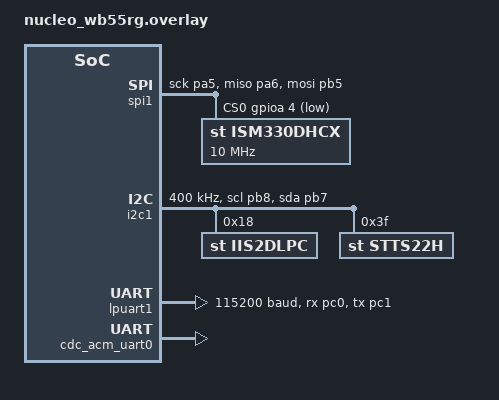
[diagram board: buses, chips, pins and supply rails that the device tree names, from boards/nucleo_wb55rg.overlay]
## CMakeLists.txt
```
cmake_minimum_required(VERSION 3.20.0)
find_package(Zephyr REQUIRED HINTS $ENV{ZEPHYR_BASE})

project(sovereign-sensor)

target_sources(app PRIVATE
    src/main.c
    src/sensors/ism330dhcx.c
    src/sensors/impact_detect.c
    src/sensors/environment.c
    src/capture/ring_buffer.c
    src/capture/swing_detect.c
    src/capture/session.c
    src/transport/usb_serial.c
    src/transport/protocol.c
    src/transport/ble_service.c
    # src/storage/flash_store.c  # Enable when QSPI flash is configured
)

target_include_directories(app PRIVATE include)
```

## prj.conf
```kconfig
# Sovereign Sensor — Phase 1 Configuration
# Target: STEVAL-PROTEUS1 (STM32WB55)

# Kernel
CONFIG_MAIN_STACK_SIZE=2048
CONFIG_SYSTEM_WORKQUEUE_STACK_SIZE=2048

# Sensor subsystem
CONFIG_SENSOR=y
CONFIG_ISM330DHCX=y
CONFIG_ISM330DHCX_TRIGGER_NONE=y
# IIS3DWB: no Zephyr driver — using raw SPI in impact_detect.c
CONFIG_IIS2DLPC=y
CONFIG_IIS2DLPC_TRIGGER_NONE=y
CONFIG_STTS22H=y

# SPI + I2C (sensors on both buses)
CONFIG_SPI=y
CONFIG_I2C=y
CONFIG_GPIO=y

# USB CDC ACM (serial over USB)
CONFIG_USB_DEVICE_STACK=y
CONFIG_USB_CDC_ACM=y
CONFIG_SERIAL=y
CONFIG_UART_LINE_CTRL=y
CONFIG_USB_DEVICE_PRODUCT="Sovereign Sensor"
CONFIG_USB_DEVICE_MANUFACTURER="IntelAction"
CONFIG_USB_DEVICE_VID=0x0483
CONFIG_USB_DEVICE_PID=0x5740

# Console via UART (visible on STLINK VCP if wired)
CONFIG_CONSOLE=y
CONFIG_UART_CONSOLE=y

# Logging
CONFIG_LOG=y
CONFIG_LOG_MODE_DEFERRED=y
CONFIG_LOG_BUFFER_SIZE=2048

# Floating point
CONFIG_FPU=y

# Use newlib (avoids picolibc lock type conflict with SDK 0.17.4)
CONFIG_NEWLIB_LIBC=y

# Thread awareness
CONFIG_THREAD_NAME=y
CONFIG_THREAD_MONITOR=y

# Power management DISABLED for Phase 1 (PM disables SWD debug port)
CONFIG_PM=n

# Keep SWD debug active
CONFIG_DEBUG=y

# External flash (MX25R6435F on QuadSPI) — disabled until custom pinctrl
# CONFIG_FLASH=y
# CONFIG_FLASH_MAP=y
# CONFIG_FLASH_PAGE_LAYOUT=y

# Bluetooth LE
CONFIG_BT=y
CONFIG_BT_PERIPHERAL=y
CONFIG_BT_DEVICE_NAME="SovereignSensor"
CONFIG_BT_DEVICE_APPEARANCE=833
CONFIG_BT_MAX_CONN=1
CONFIG_BT_MAX_PAIRED=1
CONFIG_BT_GATT_DYNAMIC_DB=y
```

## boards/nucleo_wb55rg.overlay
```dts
/*
 * Device tree overlay for STEVAL-PROTEUS1 sensor board.
 *
 * Pin mapping from official STM32CubeMX IOC (STM32_open_pin_data):
 *
 * ISM330DHCX on SPI1: SCK=PA5, MISO=PA6, MOSI=PB5, CS=PA4
 * IIS3DWB on SPI1: CS=PA15 (not used Phase 1)
 * IIS2DLPC on I2C1: SCL=PB8, SDA=PB7
 * STTS22H on I2C1
 * STSAFE on I2C1
 *
 * Power: STBC02_CEN=PD12 (OD, HIGH), ST1PS02 D0=PC9,D1=PC10,D2=PC11
 *        ST1PS02_AUX=PD13 (HIGH), STBC02_WAKE-UP=PH0
 *
 * Using nucleo_wb55rg as base board (same STM32WB55 SoC).
 */

&spi1 {
	pinctrl-0 = <&spi1_sck_pa5 &spi1_miso_pa6 &spi1_mosi_pb5>;
	pinctrl-names = "default";
	status = "okay";
	cs-gpios = <&gpioa 4 GPIO_ACTIVE_LOW>,
	           <&gpioa 15 GPIO_ACTIVE_LOW>;

	ism330dhcx@0 {
		compatible = "st,ism330dhcx";
		reg = <0>;
		spi-max-frequency = <10000000>;
	};

	/*
	 * IIS3DWB (CS1/PA15): 26.7kHz vibration sensor.
	 * No Zephyr driver — accessed via raw SPI in impact_detect.c
	 * using the second cs-gpios entry above.
	 */
};

&i2c1 {
	pinctrl-0 = <&i2c1_scl_pb8 &i2c1_sda_pb7>;
	pinctrl-names = "default";
	status = "okay";
	clock-frequency = <I2C_BITRATE_FAST>;

	/* IIS2DLPC: ultra-low-power accel for wake-on-motion */
	iis2dlpc: iis2dlpc@18 {
		compatible = "st,iis2dlpc";
		reg = <0x18>;
	};

	/* STTS22H: temperature sensor for drift compensation */
	stts22h: stts22h@3f {
		compatible = "st,stts22h";
		reg = <0x3f>;
		sampling-rate = <0x04>;  /* STTS22H_1Hz — continuous 1Hz */
	};
};

/* Console on lpuart1 */
/ {
	chosen {
		zephyr,console = &lpuart1;
		zephyr,shell-uart = &lpuart1;
	};
};

&lpuart1 {
	pinctrl-0 = <&lpuart1_rx_pc0 &lpuart1_tx_pc1>;
	pinctrl-names = "default";
	status = "okay";
	current-speed = <115200>;
};

/*
 * QuadSPI NOR flash: MX25R6435F 64Mbit (8MB)
 * QSPI: CLK=PA3, IO0=PB9, IO1=PD5, IO2=PD6, IO3=PD7, NCS=PB11
 * TODO: Enable when custom pinctrl with PD5-7 QSPI pins is added.
 *       The nucleo_wb55rg pinctrl lacks PD5-7 QSPI definitions.
 *       Need stm32wb5mmghx-pinctrl.dtsi for these pins.
 */

&zephyr_udc0 {
	cdc_acm_uart0: cdc_acm_uart0 {
		compatible = "zephyr,cdc-acm-uart";
	};
};
```

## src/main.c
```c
/*
 * Sovereign Sensor — Phase 1 Main Application
 *
 * Three-thread architecture:
 *   1. Sensor thread (P5): reads IMU at configured rate, pushes to ring buffer
 *   2. Capture thread (P3): state machine — IDLE → ARMED → CAPTURING → TRANSFER
 *   3. Transport thread (P7): drains ring buffer over USB CDC as CSV
 *
 * Phase 1: threshold-based swing detection, USB CSV output.
 */

#include <zephyr/kernel.h>
#include <zephyr/drivers/gpio.h>
#include <zephyr/logging/log.h>
#include "sensor_config.h"
#include "capture.h"
#include "transport.h"
#include "protocol.h"
#include <stdio.h>
#include <string.h>

LOG_MODULE_REGISTER(main, LOG_LEVEL_INF);

/* Thread stacks */
#define SENSOR_STACK_SIZE   2048
#define CAPTURE_STACK_SIZE  2048
#define TRANSPORT_STACK_SIZE 2048

K_THREAD_STACK_DEFINE(sensor_stack, SENSOR_STACK_SIZE);
K_THREAD_STACK_DEFINE(capture_stack, CAPTURE_STACK_SIZE);
K_THREAD_STACK_DEFINE(transport_stack, TRANSPORT_STACK_SIZE);

static struct k_thread sensor_thread_data;
static struct k_thread capture_thread_data;
static struct k_thread transport_thread_data;

/* Shared state */
static volatile enum capture_state current_state = CAPTURE_STATE_IDLE;
static volatile bool transfer_requested = false;
static struct sensor_runtime_config runtime_config = {
    .sample_rate_hz = DEFAULT_SAMPLE_RATE_HZ,
    .wake_threshold_mg = DEFAULT_WAKE_THRESHOLD_MG,
    .capture_mode = 1,  /* threshold */
    .capture_duration_s = DEFAULT_CAPTURE_DURATION_S,
    .preroll_s = DEFAULT_PREROLL_S,
};

/* Forward declarations — ISM330DHCX */
int imu_init(void);
int imu_set_rate(uint16_t rate_hz);
int imu_read_sample(struct imu_sample *sample);
bool imu_is_ready(void);

/* Forward declarations — IIS3DWB impact + environment */
int impact_detect_init(void);
bool impact_is_ready(void);
void impact_arm(void);
void impact_disarm(void);
int impact_capture_sample(void);
bool impact_has_data(void);
uint16_t impact_get_count(void);
uint32_t impact_analyze_peak(void);
int impact_get_sample(uint16_t index, int16_t *x, int16_t *y, int16_t *z);

int environment_init(void);
float environment_read_temperature(void);
bool environment_temp_ready(void);
bool environment_wake_ready(void);

/* ---------- Sensor Thread (Priority 5) ---------- */

static void sensor_thread_fn(void *p1, void *p2, void *p3)
{
    ARG_UNUSED(p1); ARG_UNUSED(p2); ARG_UNUSED(p3);

    struct imu_sample sample;
    uint32_t period_us = 1000000 / runtime_config.sample_rate_hz;

    LOG_INF("Sensor thread started (%u Hz, %u us period)",
            runtime_config.sample_rate_hz, period_us);

    while (1) {
        int64_t start = k_uptime_ticks();

        if (current_state == CAPTURE_STATE_ARMED ||
            current_state == CAPTURE_STATE_CAPTURING ||
            current_state == CAPTURE_STATE_STREAMING) {

            int ret = imu_read_sample(&sample);
            if (ret == 0) {
                ring_buffer_push(&sample);
            }
        }

        /* Precise timing: sleep for remainder of period */
        int64_t elapsed_us = k_ticks_to_us_floor64(k_uptime_ticks() - start);
        if (elapsed_us < period_us) {
            k_usleep(period_us - (uint32_t)elapsed_us);
        }
    }
}

/* ---------- Capture Thread (Priority 3) ---------- */

static void capture_thread_fn(void *p1, void *p2, void *p3)
{
    ARG_UNUSED(p1); ARG_UNUSED(p2); ARG_UNUSED(p3);

    LOG_INF("Capture thread started (mode=threshold, threshold=%u mg)",
            runtime_config.wake_threshold_mg);

    swing_detect_set_threshold(runtime_config.wake_threshold_mg);
    swing_detect_set_cooldown(DEFAULT_COOLDOWN_S * 1000);

    while (1) {
        switch (current_state) {
        case CAPTURE_STATE_IDLE:
            /* Transition to ARMED — ready to detect swing */
            current_state = CAPTURE_STATE_ARMED;
            ring_buffer_clear();
            swing_detect_reset();
            LOG_INF("State: IDLE → ARMED");
            break;

        case CAPTURE_STATE_ARMED: {
            /* Check latest sample for swing start */
            struct imu_sample sample;
            int count = ring_buffer_count();
            if (count > 0 &&
                ring_buffer_peek(&sample, count - 1) == 0) {
                enum swing_event evt = swing_detect_check(&sample);
                if (evt == SWING_EVENT_START) {
                    session_start();
                    /* Don't arm IIS3DWB yet — wait for downswing detection */
                    current_state = CAPTURE_STATE_CAPTURING;
                    LOG_INF("State: ARMED → CAPTURING (session %04u)",
                            session_get_id());
                }
            }
            k_msleep(2);  /* Check at 500Hz */
            break;
        }

        case CAPTURE_STATE_CAPTURING: {
            /* Count samples and check for swing events */
            struct imu_sample sample;
            int count = ring_buffer_count();
            if (count > 0 &&
                ring_buffer_peek(&sample, count - 1) == 0) {
                session_add_sample();

                /* Capture impact vibration (no-op if not yet armed) */
                if (impact_is_ready()) {
                    impact_capture_sample();
                }

                enum swing_event evt = swing_detect_check(&sample);

                /* Predictive impact arming via gyroscope */
                if (evt == SWING_EVENT_DOWNSWING) {
                    /* Downswing detected — arm IIS3DWB burst capture */
                    impact_arm();
                    LOG_INF("Downswing → IIS3DWB armed for impact");
                } else if (evt == SWING_EVENT_IMPACT_PREDICT) {
                    LOG_INF("Impact imminent — IIS3DWB capturing burst");
                }

                /* End on swing end or max duration */
                float duration = session_get_duration_s();
                if (evt == SWING_EVENT_END ||
                    duration >= runtime_config.capture_duration_s) {
                    impact_disarm();
                    uint32_t peak = impact_analyze_peak();
                    session_end();
                    current_state = CAPTURE_STATE_TRANSFER;
                    transfer_requested = true;
                    LOG_INF("State: CAPTURING → TRANSFER (%u samples, %.2fs, impact_peak=%u mg, impact_samples=%u)",
                            session_get_sample_count(), (double)duration,
                            peak, impact_get_count());
                }
            }
            k_msleep(2);
            break;
        }

        case CAPTURE_STATE_TRANSFER:
            /* Wait for transport thread to finish draining */
            if (!transfer_requested) {
                current_state = CAPTURE_STATE_IDLE;
                LOG_INF("State: TRANSFER → IDLE");
            }
            k_msleep(10);
            break;

        case CAPTURE_STATE_STREAMING:
            /* Phase 2: continuous streaming mode */
            k_msleep(100);
            break;

        case CAPTURE_STATE_SLEEP:
            k_msleep(1000);
            break;

        default:
            current_state = CAPTURE_STATE_IDLE;
            break;
        }
    }
}

/* ---------- Transport Thread (Priority 7) ---------- */

static void transport_thread_fn(void *p1, void *p2, void *p3)
{
    ARG_UNUSED(p1); ARG_UNUSED(p2); ARG_UNUSED(p3);

    char line_buf[256];

    LOG_INF("Transport thread started (USB CDC)");

    while (1) {
        if (!transfer_requested || !usb_serial_is_connected()) {
            k_msleep(50);
            continue;
        }

        /* Send CSV header */
        int len = csv_format_header(line_buf, sizeof(line_buf),
                                     "PROTEUS1", runtime_config.sample_rate_hz,
                                     session_get_id(), "threshold");
        if (len > 0) {
            usb_serial_writeln(line_buf);
        }

        /* Drain ring buffer as CSV */
        struct imu_sample sample;
        uint32_t sent = 0;
        while (ring_buffer_pop(&sample) == 0) {
            len = csv_format_sample(line_buf, sizeof(line_buf), &sample);
            if (len > 0) {
                usb_serial_writeln(line_buf);
                sent++;
            }
            /* Yield periodically to avoid starving other threads */
            if ((sent % 64) == 0) {
                k_yield();
            }
        }

        /* Send impact vibration data if available */
        uint16_t impact_samples = impact_get_count();
        if (impact_has_data() && impact_samples > 0) {
            snprintf(line_buf, sizeof(line_buf),
                     "# impact_section,sensor=IIS3DWB,rate=26700,samples=%u",
                     impact_samples);
            usb_serial_writeln(line_buf);
            usb_serial_writeln("impact_idx,impact_x_mg,impact_y_mg,impact_z_mg");

            for (uint16_t i = 0; i < impact_samples; i++) {
                int16_t ix, iy, iz;
                if (impact_get_sample(i, &ix, &iy, &iz) == 0) {
                    snprintf(line_buf, sizeof(line_buf), "%u,%d,%d,%d",
                             i, ix, iy, iz);
                    usb_serial_writeln(line_buf);
                }
                if ((i % 64) == 0) k_yield();
            }
        }

        /* Send footer */
        len = csv_format_footer(line_buf, sizeof(line_buf),
                                session_get_id(), sent,
                                session_get_duration_s());
        if (len > 0) {
            usb_serial_writeln(line_buf);
        }

        LOG_INF("Transfer complete: %u IMU + %u impact samples via USB",
                sent, impact_samples);
        transfer_requested = false;
    }
}

/* ---------- LED Status (RED=PD8, GREEN=PD2, BLUE=PH1) ---------- */

static const struct device *led_gpiod;
static const struct device *led_gpioh;
static bool leds_ready = false;

static void leds_init(void)
{
    led_gpiod = DEVICE_DT_GET(DT_NODELABEL(gpiod));
    led_gpioh = DEVICE_DT_GET(DT_NODELABEL(gpioh));
    if (device_is_ready(led_gpiod) && device_is_ready(led_gpioh)) {
        gpio_pin_configure(led_gpiod, 8, GPIO_OUTPUT_INACTIVE);  /* RED */
        gpio_pin_configure(led_gpiod, 2, GPIO_OUTPUT_INACTIVE);  /* GREEN */
        gpio_pin_configure(led_gpioh, 1, GPIO_OUTPUT_INACTIVE);  /* BLUE */
        leds_ready = true;
    }
}

static void leds_set(bool red, bool green, bool blue)
{
    if (!leds_ready) return;
    gpio_pin_set(led_gpiod, 8, red ? 1 : 0);
    gpio_pin_set(led_gpiod, 2, green ? 1 : 0);
    gpio_pin_set(led_gpioh, 1, blue ? 1 : 0);
}

static void leds_update_state(enum capture_state state)
{
    switch (state) {
    case CAPTURE_STATE_IDLE:
    case CAPTURE_STATE_ARMED:
        leds_set(false, true, false);   /* GREEN = ready */
        break;
    case CAPTURE_STATE_CAPTURING:
        leds_set(false, false, true);   /* BLUE = capturing */
        break;
    case CAPTURE_STATE_TRANSFER:
        leds_set(false, true, true);    /* CYAN = transferring */
        break;
    case CAPTURE_STATE_STREAMING:
        leds_set(true, false, true);    /* MAGENTA = streaming */
        break;
    case CAPTURE_STATE_SLEEP:
    default:
        leds_set(false, false, false);  /* OFF */
        break;
    }
}

/* ---------- Main ---------- */

int main(void)
{
    LOG_INF("=== Sovereign Sensor v0.3.0 ===");
    LOG_INF("Predictive Impact Arming + Multi-Sensor CSV");

    /* Enable STBC02 power management (CEN=PD12, open-drain HIGH) */
    const struct device *gpiod = DEVICE_DT_GET(DT_NODELABEL(gpiod));
    const struct device *gpioc = DEVICE_DT_GET(DT_NODELABEL(gpioc));
    if (device_is_ready(gpiod) && device_is_ready(gpioc)) {
        /* STBC02_CEN = PD12: open-drain, drive HIGH to enable */
        gpio_pin_configure(gpiod, 12, GPIO_OUTPUT_HIGH | GPIO_OPEN_DRAIN);
        /* ST1PS02 voltage select: D0=PC9, D1=PC10, D2=PC11 -> all HIGH = 3.3V */
        gpio_pin_configure(gpioc, 9, GPIO_OUTPUT_HIGH);
        gpio_pin_configure(gpioc, 10, GPIO_OUTPUT_HIGH);
        gpio_pin_configure(gpioc, 11, GPIO_OUTPUT_HIGH);
        /* ST1PS02_AUX = PD13 HIGH */
        gpio_pin_configure(gpiod, 13, GPIO_OUTPUT_HIGH);
        LOG_INF("Power: STBC02 enabled, ST1PS02 set to 3.3V");
        /* Wait for power to stabilize */
        k_msleep(50);
    }

    /* Initialize LEDs for status feedback */
    leds_init();
    leds_set(true, false, false);  /* RED = initializing */

    /* Initialize subsystems */
    int ret = ring_buffer_init();
    if (ret < 0) {
        LOG_ERR("Ring buffer init failed: %d", ret);
        return ret;
    }

    ret = imu_init();
    if (ret < 0) {
        LOG_ERR("IMU init failed: %d", ret);
    }

    ret = impact_detect_init();
    if (ret < 0) {
        LOG_WRN("Impact sensor not available: %d", ret);
    }

    ret = environment_init();
    if (ret < 0) {
        LOG_WRN("Environment sensors not available: %d", ret);
    }

    ret = usb_serial_init();
    if (ret < 0) {
        LOG_ERR("USB serial init failed: %d", ret);
    }

    ret = ble_service_init();
    if (ret < 0) {
        LOG_ERR("BLE init failed: %d", ret);
    }

    /* Start threads */
    k_thread_create(&sensor_thread_data, sensor_stack,
                    K_THREAD_STACK_SIZEOF(sensor_stack),
                    sensor_thread_fn, NULL, NULL, NULL,
                    5, 0, K_NO_WAIT);
    k_thread_name_set(&sensor_thread_data, "sensor");

    k_thread_create(&capture_thread_data, capture_stack,
                    K_THREAD_STACK_SIZEOF(capture_stack),
                    capture_thread_fn, NULL, NULL, NULL,
                    3, 0, K_NO_WAIT);
    k_thread_name_set(&capture_thread_data, "capture");

    k_thread_create(&transport_thread_data, transport_stack,
                    K_THREAD_STACK_SIZEOF(transport_stack),
                    transport_thread_fn, NULL, NULL, NULL,
                    7, 0, K_NO_WAIT);
    k_thread_name_set(&transport_thread_data, "transport");

    LOG_INF("All threads started. Entering IDLE state.");

    leds_set(false, true, false);  /* GREEN = ready */

    /* Main thread: status reporting + LED state + BLE + command processing */
    while (1) {
        leds_update_state(current_state);

        /* Process USB serial commands */
        if (usb_serial_has_command()) {
            const char *cmd = usb_serial_get_command();
            char resp[128];
            int val;

            if (sscanf(cmd, "SET THRESHOLD %d", &val) == 1 && val > 0 && val < 32000) {
                runtime_config.wake_threshold_mg = (uint16_t)val;
                swing_detect_set_threshold((uint16_t)val);
                snprintf(resp, sizeof(resp), "OK threshold=%d", val);
            } else if (sscanf(cmd, "SET DURATION %d", &val) == 1 && val > 0 && val <= 30) {
                runtime_config.capture_duration_s = (uint8_t)val;
                snprintf(resp, sizeof(resp), "OK duration=%d", val);
            } else if (sscanf(cmd, "SET COOLDOWN %d", &val) == 1 && val > 0 && val <= 10000) {
                swing_detect_set_cooldown((uint32_t)val);
                snprintf(resp, sizeof(resp), "OK cooldown=%d", val);
            } else if (strcmp(cmd, "GET STATUS") == 0) {
                float temp = environment_read_temperature();
                snprintf(resp, sizeof(resp),
                    "STATUS state=%s ring=%d/%d usb=%s ble=%s temp=%.1f "
                    "threshold=%u duration=%u impact=%s session=%04u",
                    capture_state_name(current_state),
                    ring_buffer_count(), RING_BUFFER_SAMPLES,
                    usb_serial_is_connected() ? "yes" : "no",
                    ble_is_connected() ? "yes" : "no",
                    (double)temp,
                    runtime_config.wake_threshold_mg,
                    runtime_config.capture_duration_s,
                    impact_is_ready() ? "ready" : "no",
                    session_get_id());
            } else if (strcmp(cmd, "GET VERSION") == 0) {
                snprintf(resp, sizeof(resp), "VERSION v0.3.0 PROTEUS1");
            } else {
                snprintf(resp, sizeof(resp), "ERR unknown: %s", cmd);
            }
            usb_serial_writeln(resp);
            usb_serial_command_done();
        }

        /* BLE status notifications every 500ms */
        if (ble_is_connected()) {
            ble_notify_status(current_state,
                              usb_serial_is_connected(),
                              session_get_id(),
                              session_get_sample_count(),
                              ring_buffer_count());
        }

        k_msleep(500);

        /* Status log every 10 cycles (5 seconds) */
        static uint8_t log_count = 0;
        if (++log_count >= 10) {
            log_count = 0;
            if (imu_is_ready()) {
                float temp = environment_read_temperature();
                LOG_INF("Status: state=%s ring=%d/%d usb=%s ble=%s temp=%.1fC",
                        capture_state_name(current_state),
                        ring_buffer_count(), RING_BUFFER_SAMPLES,
                        usb_serial_is_connected() ? "yes" : "no",
                        ble_is_connected() ? "yes" : "no",
                        (double)temp);
            }
        }
    }

    return 0;
}
```

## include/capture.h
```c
#ifndef CAPTURE_H
#define CAPTURE_H

#include "sensor_config.h"
#include <stdbool.h>

/* Ring buffer for IMU samples */
int ring_buffer_init(void);
int ring_buffer_push(const struct imu_sample *sample);
int ring_buffer_pop(struct imu_sample *sample);
int ring_buffer_peek(struct imu_sample *sample, int offset);
int ring_buffer_count(void);
bool ring_buffer_is_full(void);
bool ring_buffer_is_empty(void);
void ring_buffer_clear(void);

/* Swing detection states */
enum capture_state {
    CAPTURE_STATE_SLEEP = 0,
    CAPTURE_STATE_IDLE,
    CAPTURE_STATE_ARMED,
    CAPTURE_STATE_CAPTURING,
    CAPTURE_STATE_TRANSFER,
    CAPTURE_STATE_STREAMING,
};

const char *capture_state_name(enum capture_state state);

/* Swing detection events */
enum swing_event {
    SWING_EVENT_NONE = 0,
    SWING_EVENT_START,
    SWING_EVENT_END,
    SWING_EVENT_DOWNSWING,       /* Gyro detected downswing onset */
    SWING_EVENT_IMPACT_PREDICT,  /* Gyro predicts impact imminent */
};

/* Swing detection */
void swing_detect_set_threshold(uint16_t mg);
void swing_detect_set_cooldown(uint32_t ms);
enum swing_event swing_detect_check(const struct imu_sample *sample);
void swing_detect_reset(void);

/* Session management */
uint16_t session_start(void);
void session_end(void);
void session_add_sample(void);
uint16_t session_get_id(void);
uint32_t session_get_sample_count(void);
float session_get_duration_s(void);
bool session_is_active(void);

#endif /* CAPTURE_H */
```

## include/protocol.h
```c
#ifndef PROTOCOL_H
#define PROTOCOL_H

#include "sensor_config.h"

/* CSV formatting */
int csv_format_header(char *buf, int buf_size,
                      const char *device_id, uint16_t sample_rate_hz,
                      uint16_t session_id, const char *capture_mode);
int csv_format_sample(char *buf, int buf_size, const struct imu_sample *sample);
int csv_format_footer(char *buf, int buf_size,
                      uint16_t session_id, uint32_t sample_count,
                      float duration_s);

#endif /* PROTOCOL_H */
```

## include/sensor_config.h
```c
#ifndef SENSOR_CONFIG_H
#define SENSOR_CONFIG_H

#include <stdint.h>

/* Default sample rate (Hz). Configurable at runtime. */
#define DEFAULT_SAMPLE_RATE_HZ      500

/* Maximum sample rate the ISM330DHCX supports */
#define MAX_SAMPLE_RATE_HZ          6660

/* Swing capture defaults */
#define DEFAULT_WAKE_THRESHOLD_MG   1500
#define DEFAULT_CAPTURE_DURATION_S  5
#define DEFAULT_PREROLL_S           1
#define DEFAULT_COOLDOWN_S          1

/* Ring buffer: enough for MAX_SAMPLE_RATE * CAPTURE_DURATION */
/* 14 bytes per sample (4 timestamp + 6*int16_t) */
#define SAMPLE_SIZE_BYTES           14
#define RING_BUFFER_SAMPLES         4096  /* ~8s at 500Hz, ~2.5s at 1.66kHz */
#define RING_BUFFER_SIZE            (RING_BUFFER_SAMPLES * SAMPLE_SIZE_BYTES)

/* IMU sample data structure */
struct imu_sample {
    uint32_t timestamp_us;
    int16_t accel_x_mg;
    int16_t accel_y_mg;
    int16_t accel_z_mg;
    int16_t gyro_x_mdps;
    int16_t gyro_y_mdps;
    int16_t gyro_z_mdps;
} __attribute__((packed));

/* Runtime configuration */
struct sensor_runtime_config {
    uint16_t sample_rate_hz;
    uint16_t wake_threshold_mg;
    uint8_t capture_mode;       /* 0=manual, 1=threshold, 2=preroll, 3=ml_core */
    uint8_t capture_duration_s;
    uint8_t preroll_s;
};

#endif /* SENSOR_CONFIG_H */
```

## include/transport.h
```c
#ifndef TRANSPORT_H
#define TRANSPORT_H

#include "sensor_config.h"
#include <stdbool.h>

/* USB Serial */
int usb_serial_init(void);
int usb_serial_write(const char *data, int len);
int usb_serial_writeln(const char *line);
bool usb_serial_is_connected(void);
bool usb_serial_has_command(void);
const char *usb_serial_get_command(void);
void usb_serial_command_done(void);

/* BLE GATT Service */
int ble_service_init(void);
bool ble_is_connected(void);
int ble_notify_status(uint8_t state, bool usb_connected,
                      uint16_t session_id, uint32_t sample_count,
                      int ring_count);
int ble_notify_imu(const struct imu_sample *sample);

#endif /* TRANSPORT_H */
```
